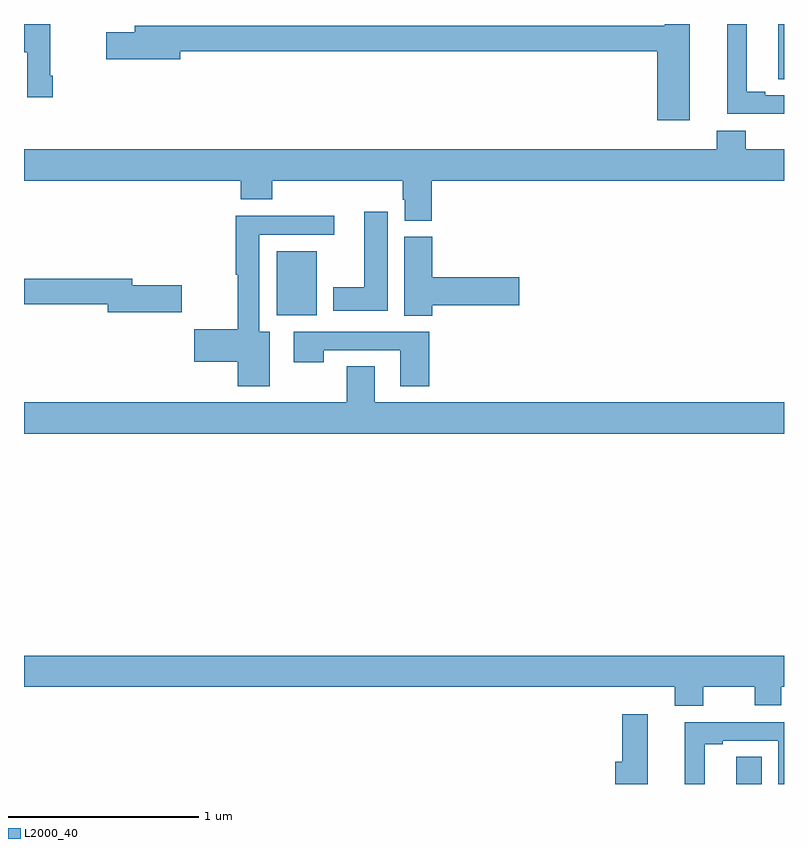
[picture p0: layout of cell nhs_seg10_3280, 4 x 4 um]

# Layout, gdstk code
import gdstk
lib = gdstk.Library(unit=1e-6, precision=1e-09)
def R(c, l, rs):  # rectangles x0, y0, x1, y1
    for r in rs: c.add(gdstk.rectangle(r[:2], r[2:], *l))
def P(c, l, *ps):  # polygons
    for p in ps: c.add(gdstk.Polygon(p, *l))
L2000_40 = (2000, 40)

nhs_seg10_3280 = lib.new_cell('nhs_seg10_3280')
R(nhs_seg10_3280, L2000_40, [(292.748,1270.5,292.882,1270.643), (290.33,1272.968,290.542,1273.303), (292.97,1274.209,293,1274.5)])
P(nhs_seg10_3280, L2000_40, [(292.504,1274.5),(292.373,1274.5),(292.373,1274.492),(289.583,1274.492),(289.583,1274.456),(289.434,1274.456),(289.434,1274.314),(289.822,1274.314),(289.822,1274.356),(292.334,1274.356),(292.334,1273.994),(292.504,1273.994)],
  [(293,1274.124),(292.9,1274.124),(292.9,1274.144),(292.804,1274.144),(292.804,1274.5),(292.7,1274.5),(292.7,1274.028),(293,1274.028)],
  [(289.151,1274.227),(289.138,1274.227),(289.138,1274.5),(289.02,1274.5),(289.02,1274.498),(289,1274.498),(289,1274.351),(289.016,1274.351),(289.016,1274.115),(289.151,1274.115)],
  [(291.146,1273.676),(293,1273.676),(293,1273.84),(292.798,1273.84),(292.798,1273.939),(292.646,1273.939),(292.646,1273.84),(289,1273.84),(289,1273.676),(290.141,1273.676),(290.141,1273.577),(290.306,1273.577),(290.306,1273.676),(290.993,1273.676),(290.993,1273.575),(291.005,1273.575),(291.005,1273.465),(291.146,1273.465)],
  [(290.914,1273.513),(290.792,1273.513),(290.792,1273.114),(290.627,1273.114),(290.627,1272.992),(290.914,1272.992)],
  [(290.293,1272.88),(290.239,1272.88),(290.239,1273.392),(290.632,1273.392),(290.632,1273.49),(290.114,1273.49),(290.114,1273.181),(290.126,1273.181),(290.126,1272.893),(289.896,1272.893),(289.896,1272.722),(290.126,1272.722),(290.126,1272.594),(290.293,1272.594)],
  [(291.149,1273.019),(291.607,1273.019),(291.607,1273.166),(291.149,1273.166),(291.149,1273.38),(291.002,1273.38),(291.002,1272.964),(291.149,1272.964)],
  [(289.831,1273.124),(289.57,1273.124),(289.57,1273.16),(289,1273.16),(289,1273.024),(289.442,1273.024),(289.442,1272.982),(289.831,1272.982)],
  [(291.134,1272.879),(290.421,1272.879),(290.421,1272.72),(290.577,1272.72),(290.577,1272.783),(290.981,1272.783),(290.981,1272.594),(291.134,1272.594)],
  [(293,1272.508),(290.845,1272.508),(290.845,1272.698),(290.698,1272.698),(290.698,1272.508),(289,1272.508),(289,1272.344),(293,1272.344)],
  [(292.576,1271.012),(292.847,1271.012),(292.847,1270.914),(292.986,1270.914),(292.986,1271.012),(293,1271.012),(293,1271.176),(289,1271.176),(289,1271.012),(292.424,1271.012),(292.424,1270.913),(292.576,1270.913)],
  [(292.282,1270.867),(292.148,1270.867),(292.148,1270.618),(292.112,1270.618),(292.112,1270.5),(292.282,1270.5)],
  [(292.582,1270.708),(292.678,1270.708),(292.678,1270.728),(292.971,1270.728),(292.971,1270.5),(293,1270.5),(293,1270.824),(292.478,1270.824),(292.478,1270.5),(292.582,1270.5)])

lib.write_gds('nhs_seg10_3280.gds')
